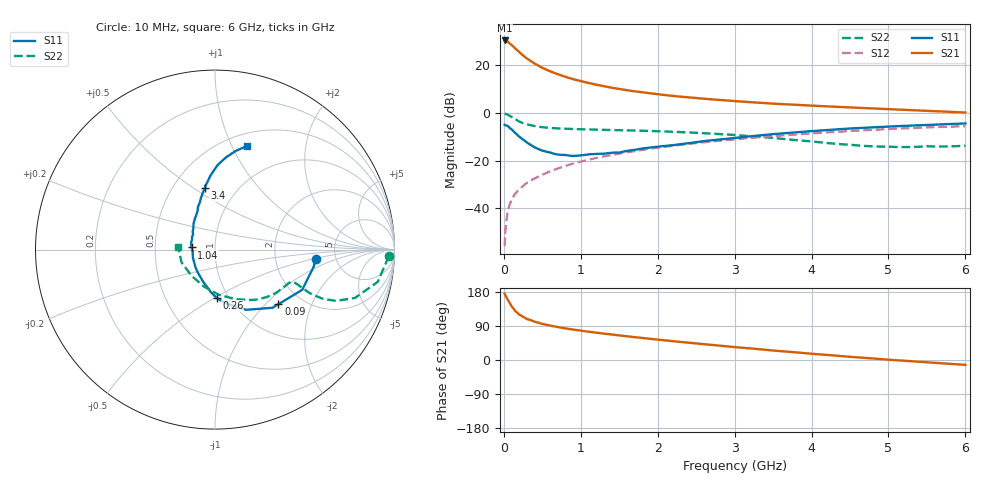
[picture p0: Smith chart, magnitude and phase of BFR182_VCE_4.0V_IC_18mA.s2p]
! Infineon Technologies  Discrete & RF Semiconductors
! BFR182
! VCE =  4.0 V,  IC =  18 mA
! Common Emitter S-Parameters:  Nov 2015
# GHz  S  MA  R  50
!  f  S11  S21  S12  S22
! GHz  MAG  ANG  MAG  ANG  MAG  ANG  MAG  ANG
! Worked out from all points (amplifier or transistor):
!   210 points, 10 MHz to 6 GHz, reference 50 ohm
!   highest |S21| = 30.4 dB at 10 MHz (marker M1)
!   |S21| within 3 dB of that: start of sweep to 137.1 MHz
!   unconditionally stable (mu >= 1): 581.5 MHz to 2.535 GHz
!   at 185 MHz: K = 0.67, MSG = 29.3 dB, |S12| = -32.5 dB
!   at 1.52 GHz: K = 1.04, MAG = 12.2 dB, |S12| = -16.9 dB
!   at 6 GHz: K = 0.89, MSG = 2.9 dB, |S12| = -5.6 dB
!   S11 on the Smith chart (normalised r, x): 10 MHz: 3.51, -0.52; 90 MHz: 1.53, -1.19; 260 MHz: 0.88, -0.51; 1.04 GHz: 0.77, +0.02; 3.4 GHz: 0.71, +0.55; 6 GHz: 0.63, +1.14
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0.01  0.5649 -5.1  33.19 175.2  0.0016 84.9  0.9677 -2.2
0.02  0.5578 -9.9  32.64 170.8  0.0033 87.5  0.9547 -4.6
0.05  0.5354 -24.7  31.39 158.7  0.0084 80.1  0.9243 -11.2
0.09  0.4661 -40.7  27.63 145.7  0.0138 75.3  0.8442 -17.3
0.1  0.4555 -45.4  26.95 141.9  0.0151 74.6  0.8258 -19.0
0.15  0.3778 -62.6  22.47 128.7  0.0205 71.7  0.7317 -23.0
0.2  0.3177 -75.0  18.88 120.0  0.025 70.5  0.6601 -24.5
0.26  0.2691 -88.1  15.56 112.5  0.0303 70.3  0.6023 -24.8
0.3  0.2381 -95.5  13.85 108.2  0.0342 70.6  0.5748 -24.6
0.4  0.19 -110.6  10.87 101.1  0.0423 72.1  0.5278 -23.6
0.5  0.1618 -125.6  8.838 95.2  0.0503 72.9  0.5004 -22.9
0.7  0.1338 -151.4  6.502 86.8  0.0682 73.1  0.4732 -22.6
0.9  0.1253 -173.0  5.108 80.2  0.0868 72.4  0.4593 -23.2
1.02  0.1295 176.3  4.564 76.9  0.0969 71.9  0.4533 -24.1
1.04  0.1308 174.6  4.487 76.4  0.0988 71.8  0.4523 -24.3
1.4  0.1468 150.3  3.385 67.3  0.1313 69.9  0.4393 -28.0
2.02  0.1975 125.9  2.447 53.4  0.188 64.6  0.4132 -36.4
3.1  0.3103 103.7  1.727 32.4  0.289 53.8  0.3346 -56.8
3.4  0.3467 99.7  1.605 27.0  0.3171 50.6  0.307 -64.5
4.1  0.4262 92.2  1.398 15.0  0.3811 42.4  0.2428 -88.7
5.1  0.5266 82.1  1.183 -0.5  0.4668 30.1  0.1931 -137.6
6  0.6021 73.0  1.02 -12.9  0.5271 17.8  0.2054 175.9
